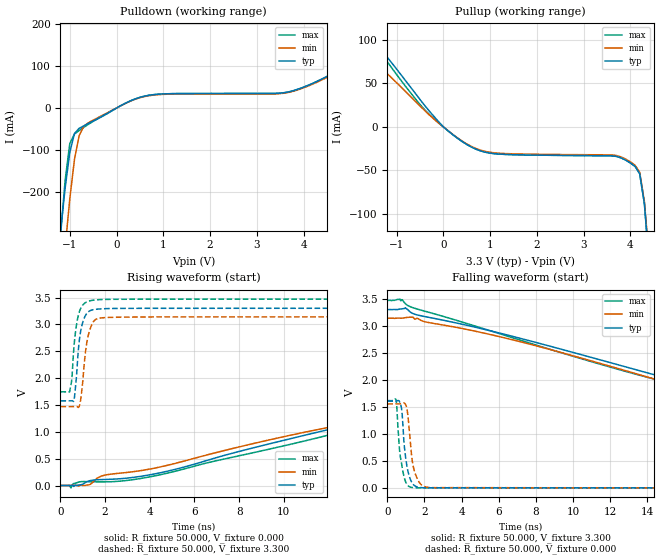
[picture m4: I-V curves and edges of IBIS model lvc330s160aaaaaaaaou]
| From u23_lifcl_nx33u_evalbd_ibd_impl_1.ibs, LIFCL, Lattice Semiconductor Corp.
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[Model] lvc330s160aaaaaaaaou
Model_type Output
Polarity   Non-Inverting
Enable   Active-High
Vmeas =  1.650V
Cref =  0.0F
Rref =  1.000M
Vref =  0.0V
C_comp   5.000pF   4.000pF   5.500pF
[Temperature Range]   25.000   0.125k   -40.000
[Voltage Range]   3.300V   3.140V   3.470V
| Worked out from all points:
|   slope of the pulldown table from 0 to 0.495 V, typ, clamps not added: 19.6 ohm
|   slope of the pullup table from 0 to 0.495 V, typ, clamps not added: 24.8 ohm
|   rising waveform, R_fixture 50.000, V_fixture 0.000: 20-80 % time 9.3ns typ, 10.1ns min, 9.69ns max; typ from 0 V to 1.6 V
|   rising waveform, R_fixture 50.000, V_fixture 3.300: 20-80 % time 253ps typ, 287ps min, 249ps max; typ from 1.58 V to 3.3 V
|   falling waveform, R_fixture 50.000, V_fixture 3.300: 20-80 % time 11.2ns typ, 10.5ns min, 10ns max; typ from 3.3 V to 1.58 V
|   falling waveform, R_fixture 50.000, V_fixture 0.000: 20-80 % time 287ps typ, 322ps min, 284ps max; typ from 1.6 V to 0 V
[Pulldown]
|Voltage   I(typ)   I(min)   I(max)
-3.3V     -2.9A      -3.494A    -3.741A
-1.2V     -296.5mA   -461.8mA   -306.4mA
-1.1V     -190.9mA   -333.3mA   -172.7mA
-1V       -105.8mA   -216.3mA   -84.75mA
-900mV    -60.68mA   -122.3mA   -61.87mA
-800mV    -48.47mA   -65.84mA   -53.77mA
-700mV    -42.53mA   -43.19mA   -46.1mA
300mV     17.14mA    16.62mA    17.14mA
3.7V      38.76mA    37.6mA     38.76mA
5.4V      124mA      120.3mA    124mA
6.1V      141mA      136.8mA    141mA
6.6V      191mA      185.3mA    191mA
[Pullup]
|Voltage   I(typ)   I(min)   I(max)
-3.3V     161.5mA    101.5mA    205mA
-2.9V     118.7mA    88.9mA     161.2mA
-2.6V     107.3mA    83.1mA     128.2mA
-1.8V     107.3mA    82.2mA     116.7mA
-1.5V     99mA       75.05mA    96.6mA
-400mV    24.61mA    18.82mA    19.8mA
0V        28.23nA    226.3nA    28.23nA
700mV     -25.65mA   -24.88mA   -25.65mA
3.9V      -38.17mA   -37.03mA   -38.17mA
4.2V      -53.91mA   -52.29mA   -53.91mA
4.4V      -155.3mA   -150.6mA   -155.3mA
6.6V      -2.325A    -2.256A    -2.325A
[Ramp]
| variable   typ   min   max
dV/dt_r   1.228/9.286n   0.893/10.057n   0.919/9.681n
dV/dt_f   0.993/11.242n   0.772/10.537n   0.887/10.055n
R_load = 50.000
[Rising Waveform]
R_fixture = 50.000
V_fixture = 0.000
V_fixture_min = 0.000
V_fixture_max = 0.000
|  time   V(typ)   V(min)   V(max)
0s        358.2uV    1.067mV    358.2uV
471ps     602.5uV    1.095mV    -43.61mV
605ps     -14.7mV    1.208mV    37.39mV
1.263ns   83.32mV    11.75mV    71.54mV
1.983ns   112.5mV    192.8mV    68.28mV
4.088ns   205.9mV    313.2mV    168.3mV
10.15ns   857.2mV    923.2mV    753.4mV
14.43ns   1.268V     1.261V     1.198V
17.91ns   1.51V      1.462V     1.521V
20ns      1.605V     1.553V     1.615V
[Rising Waveform]
R_fixture = 50.000
V_fixture = 3.300
V_fixture_min = 3.140
V_fixture_max = 3.470
|  time   V(typ)   V(min)   V(max)
0s        1.576V     1.469V     1.745V
408ps     1.576V     1.468V     1.743V
510ps     1.577V     1.469V     1.988V
602ps     1.576V     1.47V      2.565V
843ps     2.692V     1.476V     3.229V
941ps     2.946V     1.712V     3.325V
1.171ns   3.2V       2.634V     3.416V
1.391ns   3.265V     2.984V     3.445V
2.368ns   3.296V     3.131V     3.466V
20ns      3.3V       3.14V      3.47V
[Falling Waveform]
R_fixture = 50.000
V_fixture = 3.300
V_fixture_min = 3.140
V_fixture_max = 3.470
|  time   V(typ)   V(min)   V(max)
0s        3.3V       3.14V      3.47V
688ps     3.309V     3.14V      3.493V
973ps     3.332V     3.15V      3.407V
1.567ns   3.204V     3.136V     3.314V
2.067ns   3.167V     3.07V      3.265V
5.387ns   2.92V      2.85V      2.924V
8.879ns   2.611V     2.549V     2.551V
14.12ns   2.117V     2.039V     2.035V
17.05ns   1.84V      1.747V     1.823V
20ns      1.576V     1.469V     1.745V
[Falling Waveform]
R_fixture = 50.000
V_fixture = 0.000
V_fixture_min = 0.000
V_fixture_max = 0.000
|  time   V(typ)   V(min)   V(max)
0s        1.605V     1.553V     1.615V
471ps     1.606V     1.553V     1.623V
657ps     1.595V     1.553V     704.6mV
726ps     1.532V     1.557V     528.2mV
1.046ns   422.9mV    1.475V     70.42mV
1.278ns   127mV      701mV      10.29mV
1.406ns   59.54mV    380mV      3.452mV
1.636ns   13.28mV    152.4mV    333uV
2.293ns   1.016mV    5.696mV    -311.3uV
20ns      358.2uV    1.067mV    358.2uV
